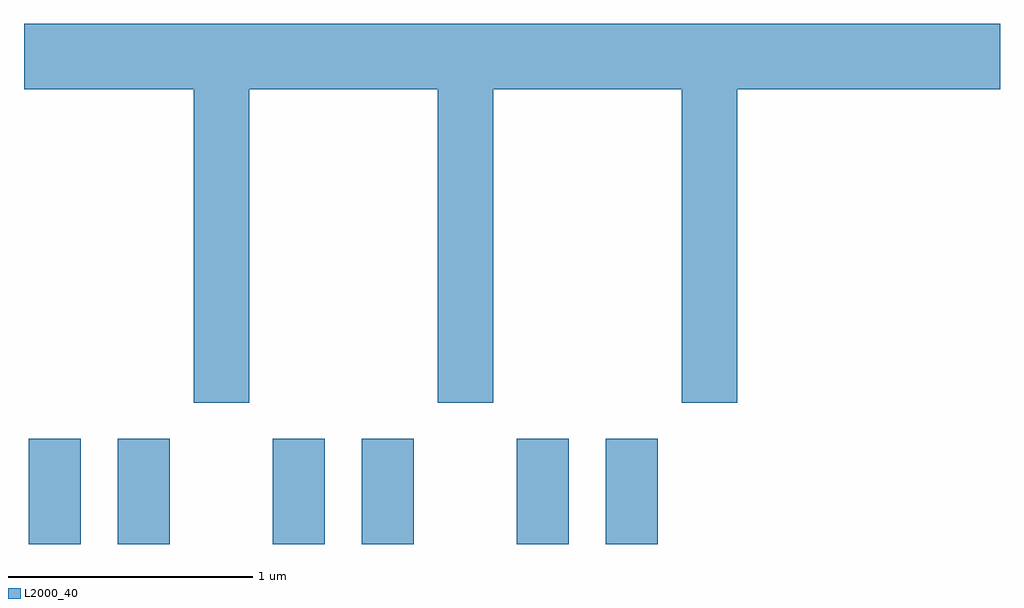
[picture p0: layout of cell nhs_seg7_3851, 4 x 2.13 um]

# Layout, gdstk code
import gdstk
lib = gdstk.Library(unit=1e-6, precision=1e-09)
def R(c, l, rs):  # rectangles x0, y0, x1, y1
    for r in rs: c.add(gdstk.rectangle(r[:2], r[2:], *l))
def P(c, l, *ps):  # polygons
    for p in ps: c.add(gdstk.Polygon(p, *l))
L2000_40 = (2000, 40)

nhs_seg7_3851 = lib.new_cell('nhs_seg7_3851')
R(nhs_seg7_3851, L2000_40, [(303.631,1690.252,303.844,1690.684), (303.996,1690.252,304.209,1690.684), (304.631,1690.252,304.844,1690.684), (304.996,1690.252,305.209,1690.684), (305.631,1690.252,305.844,1690.684), (305.996,1690.252,306.209,1690.684)])
P(nhs_seg7_3851, L2000_40, [(304.534,1692.116),(305.306,1692.116),(305.306,1690.831),(305.534,1690.831),(305.534,1692.116),(306.306,1692.116),(306.306,1690.831),(306.534,1690.831),(306.534,1692.116),(307.611,1692.116),(307.611,1692.384),(303.611,1692.384),(303.611,1692.116),(304.306,1692.116),(304.306,1690.831),(304.534,1690.831)])

lib.write_gds('nhs_seg7_3851.gds')
